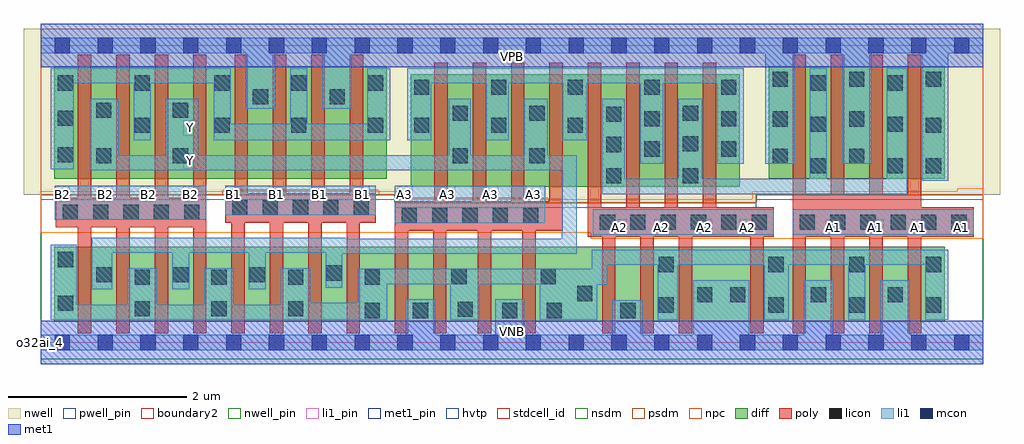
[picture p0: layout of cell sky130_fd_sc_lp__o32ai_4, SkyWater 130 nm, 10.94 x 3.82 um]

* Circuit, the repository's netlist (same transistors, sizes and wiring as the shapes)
* Copyright 2020 The SkyWater PDK Authors
*
* Licensed under the Apache License, Version 2.0 (the "License");
* you may not use this file except in compliance with the License.
* You may obtain a copy of the License at
*
*     https://www.apache.org/licenses/LICENSE-2.0
*
* Unless required by applicable law or agreed to in writing, software
* distributed under the License is distributed on an "AS IS" BASIS,
* WITHOUT WARRANTIES OR CONDITIONS OF ANY KIND, either express or implied.
* See the License for the specific language governing permissions and
* limitations under the License.
*
* SPDX-License-Identifier: Apache-2.0

.SUBCKT sky130_fd_sc_lp__o32ai_4 A1 A2 A3 B1 B2 VGND VNB VPB VPWR Y
*.PININFO A1:I A2:I A3:I B1:I B2:I VGND:I VNB:I VPB:I VPWR:I Y:O
MMPA0 VPWR A1 sndA1 VPB sky130_fd_pr__pfet_01v8_hvt m=4 w=1.26U l=0.15U mult=1
+ sa=0.265 sb=0.265 sd=0.28 area=0.063 perim=1.14
MMPA1 sndA1 A2 sndA2 VPB sky130_fd_pr__pfet_01v8_hvt m=4 w=1.26U l=0.15U mult=1
+ sa=0.265 sb=0.265 sd=0.28 area=0.063 perim=1.14
MMPA2 sndA2 A3 Y VPB sky130_fd_pr__pfet_01v8_hvt m=4 w=1.26U l=0.15U mult=1 sa=0.265
+ sb=0.265 sd=0.28 area=0.063 perim=1.14
MMPB0 VPWR B1 sndB1 VPB sky130_fd_pr__pfet_01v8_hvt m=4 w=1.26U l=0.15U mult=1
+ sa=0.265 sb=0.265 sd=0.28 area=0.063 perim=1.14
MMPB1 sndB1 B2 Y VPB sky130_fd_pr__pfet_01v8_hvt m=4 w=1.26U l=0.15U mult=1 sa=0.265
+ sb=0.265 sd=0.28 area=0.063 perim=1.14
MMNA0 pndA A1 VGND VNB sky130_fd_pr__nfet_01v8 m=4 w=0.84U l=0.15U mult=1 sa=0.265
+ sb=0.265 sd=0.28 area=0.063 perim=1.14
MMNA1 pndA A2 VGND VNB sky130_fd_pr__nfet_01v8 m=4 w=0.84U l=0.15U mult=1 sa=0.265
+ sb=0.265 sd=0.28 area=0.063 perim=1.14
MMNA2 pndA A3 VGND VNB sky130_fd_pr__nfet_01v8 m=4 w=0.84U l=0.15U mult=1 sa=0.265
+ sb=0.265 sd=0.28 area=0.063 perim=1.14
MMNB0 Y B1 pndA VNB sky130_fd_pr__nfet_01v8 m=4 w=0.84U l=0.15U mult=1 sa=0.265
+ sb=0.265 sd=0.28 area=0.063 perim=1.14
MMNB1 Y B2 pndA VNB sky130_fd_pr__nfet_01v8 m=4 w=0.84U l=0.15U mult=1 sa=0.265
+ sb=0.265 sd=0.28 area=0.063 perim=1.14
.ENDS sky130_fd_sc_lp__o32ai_4

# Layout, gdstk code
import gdstk
lib = gdstk.Library(unit=1e-6, precision=1e-09)
def R(c, l, rs):  # rectangles x0, y0, x1, y1
    for r in rs: c.add(gdstk.rectangle(r[:2], r[2:], *l))
def A(c, l, x, y, w, h, nx, ny, dx, dy):  # array of equal rectangles
    R(c, l, [(x+i*dx, y+j*dy, x+i*dx+w, y+j*dy+h) for i in range(nx) for j in range(ny)])
def P(c, l, *ps):  # polygons
    for p in ps: c.add(gdstk.Polygon(p, *l))
nwell_pin = (64, 16)
nwell = (64, 20)
diff = (65, 20)
poly = (66, 20)
licon = (66, 44)
li1_pin = (67, 16)
li1 = (67, 20)
mcon = (67, 44)
met1_pin = (68, 16)
met1 = (68, 20)
hvtp = (78, 44)
stdcell_id = (81, 4)
nsdm = (93, 44)
psdm = (94, 20)
npc = (95, 20)
pwell_pin = (122, 16)
boundary2 = (236, 0)

sky130_fd_sc_lp__o32ai_4 = lib.new_cell('sky130_fd_sc_lp__o32ai_4')
R(sky130_fd_sc_lp__o32ai_4, nwell_pin, [(0,3.085,10.56,3.33)])
P(sky130_fd_sc_lp__o32ai_4, nwell, [(10.75,3.52),(-0.19,3.52),(-0.19,1.655),(3.965,1.655),(3.965,1.565),(8.015,1.565),(8.015,1.655),(10.75,1.655)])
R(sky130_fd_sc_lp__o32ai_4, diff, [(0.15,0.235,10.13,1.075), (4.145,1.745,7.835,3.005), (0.15,1.835,3.875,3.095), (8.16,1.835,10.13,3.095)])
P(sky130_fd_sc_lp__o32ai_4, poly, [(1.855,3.225),(1.705,3.225),(1.705,1.625),(1.425,1.625),(1.425,3.225),(1.275,3.225),(1.275,1.625),(0.995,1.625),(0.995,3.225),(0.845,3.225),(0.845,1.625),(0.565,1.625),(0.565,3.225),(0.415,3.225),(0.415,1.625),(0.165,1.625),(0.165,1.295),(0.415,1.295),(0.415,0.105),(0.565,0.105),(0.565,1.295),(0.845,1.295),(0.845,0.105),(0.995,0.105),(0.995,1.295),(1.275,1.295),(1.275,0.105),(1.425,0.105),(1.425,1.295),(1.705,1.295),(1.705,0.105),(1.855,0.105)],
  [(3.755,1.675),(3.61,1.675),(3.61,3.225),(3.46,3.225),(3.46,1.675),(3.18,1.675),(3.18,3.225),(3.03,3.225),(3.03,1.675),(2.75,1.675),(2.75,3.225),(2.6,3.225),(2.6,1.675),(2.32,1.675),(2.32,3.225),(2.17,3.225),(2.17,1.675),(2.065,1.675),(2.065,1.345),(2.135,1.345),(2.135,0.105),(2.285,0.105),(2.285,1.345),(2.565,1.345),(2.565,0.105),(2.715,0.105),(2.715,1.345),(2.995,1.345),(2.995,0.105),(3.145,0.105),(3.145,1.345),(3.425,1.345),(3.425,0.105),(3.575,0.105),(3.575,1.345),(3.755,1.345)],
  [(5.545,1.255),(5.85,1.255),(5.85,3.135),(5.7,3.135),(5.7,1.585),(5.42,1.585),(5.42,3.135),(5.27,3.135),(5.27,1.585),(4.99,1.585),(4.99,3.135),(4.84,3.135),(4.84,1.585),(4.56,1.585),(4.56,3.135),(4.41,3.135),(4.41,1.585),(3.965,1.585),(3.965,0.105),(4.115,0.105),(4.115,1.255),(4.395,1.255),(4.395,0.105),(4.545,0.105),(4.545,1.255),(4.895,1.255),(4.895,0.105),(5.045,0.105),(5.045,1.255),(5.395,1.255),(5.395,0.105),(5.545,0.105)],
  [(8.215,1.515),(7.57,1.515),(7.57,3.135),(7.42,3.135),(7.42,1.515),(7.14,1.515),(7.14,3.135),(6.99,3.135),(6.99,1.515),(6.71,1.515),(6.71,3.135),(6.56,3.135),(6.56,1.515),(6.28,1.515),(6.28,3.135),(6.13,3.135),(6.13,1.185),(6.29,1.185),(6.29,0.105),(6.44,0.105),(6.44,1.185),(6.72,1.185),(6.72,0.105),(6.87,0.105),(6.87,1.185),(7.15,1.185),(7.15,0.105),(7.3,0.105),(7.3,1.185),(7.95,1.185),(7.95,0.105),(8.1,0.105),(8.1,1.185),(8.215,1.185)],
  [(10.455,1.515),(9.865,1.515),(9.865,3.225),(9.715,3.225),(9.715,1.665),(9.435,1.665),(9.435,3.225),(9.285,3.225),(9.285,1.665),(9.005,1.665),(9.005,3.225),(8.855,3.225),(8.855,1.665),(8.575,1.665),(8.575,3.225),(8.425,3.225),(8.425,0.105),(8.575,0.105),(8.575,1.185),(8.855,1.185),(8.855,0.105),(9.005,0.105),(9.005,1.185),(9.285,1.185),(9.285,0.105),(9.435,0.105),(9.435,1.185),(9.715,1.185),(9.715,0.105),(9.865,0.105),(9.865,1.185),(10.455,1.185)])
A(sky130_fd_sc_lp__o32ai_4, licon, 1.05, 0.295, 0.17, 0.17, 3, 1, 0.86, 0)
A(sky130_fd_sc_lp__o32ai_4, licon, 1.05, 0.645, 0.17, 0.17, 4, 1, 0.86, 0)
A(sky130_fd_sc_lp__o32ai_4, licon, 0.62, 0.675, 0.17, 0.17, 3, 1, 0.86, 0)
A(sky130_fd_sc_lp__o32ai_4, licon, 6.265, 1.265, 0.17, 0.17, 6, 1, 0.34, 0)
A(sky130_fd_sc_lp__o32ai_4, licon, 8.505, 1.265, 0.17, 0.17, 6, 1, 0.34, 0)
A(sky130_fd_sc_lp__o32ai_4, licon, 4.045, 1.335, 0.17, 0.17, 5, 1, 0.34, 0)
A(sky130_fd_sc_lp__o32ai_4, licon, 0.245, 1.375, 0.17, 0.17, 5, 1, 0.34, 0)
A(sky130_fd_sc_lp__o32ai_4, licon, 2.145, 1.425, 0.17, 0.17, 5, 1, 0.34, 0)
A(sky130_fd_sc_lp__o32ai_4, licon, 8.63, 1.895, 0.17, 0.17, 1, 3, 0, 0.465)
A(sky130_fd_sc_lp__o32ai_4, licon, 9.49, 1.895, 0.17, 0.17, 1, 3, 0, 0.465)
A(sky130_fd_sc_lp__o32ai_4, licon, 1.945, 2.35, 0.17, 0.17, 3, 2, 0.86, 0.475)
A(sky130_fd_sc_lp__o32ai_4, licon, 4.185, 2.35, 0.17, 0.17, 3, 1, 0.86, 0)
A(sky130_fd_sc_lp__o32ai_4, licon, 4.185, 2.775, 0.17, 0.17, 5, 1, 0.86, 0)
A(sky130_fd_sc_lp__o32ai_4, licon, 8.2, 2.865, 0.17, 0.17, 3, 1, 0.86, 0)
R(sky130_fd_sc_lp__o32ai_4, licon, [(3.63,0.275,3.8,0.445), (4.17,0.275,4.34,0.445), (5.17,0.275,5.34,0.445), (5.67,0.275,5.84,0.445), (6.495,0.275,6.665,0.445), (4.67,0.29,4.84,0.46), (6.925,0.335,7.095,0.505), (8.155,0.335,8.325,0.505), (9.06,0.335,9.23,0.505), (9.92,0.335,10.09,0.505), (0.19,0.355,0.36,0.525), (7.355,0.45,7.525,0.62), (7.725,0.45,7.895,0.62), (8.63,0.45,8.8,0.62), (9.49,0.45,9.66,0.62), (6.01,0.465,6.18,0.635), (4.6,0.655,4.77,0.825), (5.6,0.655,5.77,0.825), (3.2,0.695,3.37,0.865), (6.925,0.79,7.095,0.96), (8.155,0.79,8.325,0.96), (9.06,0.79,9.23,0.96), (9.92,0.79,10.09,0.96), (0.19,0.845,0.36,1.015), (6.335,1.785,6.505,1.955), (7.195,1.785,7.365,1.955), (9.92,1.895,10.09,2.065), (8.2,2.005,8.37,2.175), (9.06,2.005,9.23,2.175), (0.62,2.01,0.79,2.18), (1.48,2.01,1.65,2.18), (4.615,2.01,4.785,2.18), (5.475,2.01,5.645,2.18), (0.19,2.02,0.36,2.19), (6.765,2.085,6.935,2.255), (7.625,2.085,7.795,2.255), (6.335,2.135,6.505,2.305), (7.195,2.145,7.365,2.315), (1.05,2.35,1.22,2.52), (9.92,2.35,10.09,2.52), (8.2,2.42,8.37,2.59), (9.06,2.42,9.23,2.59), (6.765,2.425,6.935,2.595), (7.625,2.425,7.795,2.595), (0.19,2.43,0.36,2.6), (6.335,2.475,6.505,2.645), (4.615,2.485,4.785,2.655), (5.475,2.485,5.645,2.655), (7.195,2.485,7.365,2.655), (0.62,2.52,0.79,2.69), (1.48,2.52,1.65,2.69), (2.375,2.67,2.545,2.84), (3.235,2.67,3.405,2.84), (0.19,2.825,0.36,2.995), (1.05,2.825,1.22,2.995)])
A(sky130_fd_sc_lp__o32ai_4, li1_pin, 6.395, 1.21, 0.17, 0.17, 4, 1, 0.48, 0)
A(sky130_fd_sc_lp__o32ai_4, li1_pin, 8.795, 1.21, 0.17, 0.17, 4, 1, 0.48, 0)
A(sky130_fd_sc_lp__o32ai_4, li1_pin, 0.155, 1.58, 0.17, 0.17, 12, 1, 0.48, 0)
R(sky130_fd_sc_lp__o32ai_4, li1_pin, [(1.595,1.95,1.765,2.12), (1.595,2.32,1.765,2.49)])
R(sky130_fd_sc_lp__o32ai_4, li1, [(6.185,1.21,8.215,1.495), (8.425,1.21,10.455,1.495), (3.965,1.335,5.655,1.76), (0.155,1.375,1.855,1.76), (2.065,1.425,3.755,1.76)])
P(sky130_fd_sc_lp__o32ai_4, li1, [(3.155,2.62),(3.155,3.245),(2.625,3.245),(2.625,2.62),(2.295,2.62),(2.295,3.245),(0,3.245),(0,3.415),(10.56,3.415),(10.56,3.245),(10.17,3.245),(10.17,1.815),(9.88,1.815),(9.88,3.245),(9.31,3.245),(9.31,2.005),(8.98,2.005),(8.98,3.245),(8.45,3.245),(8.45,2.005),(8.12,2.005),(8.12,3.245),(3.485,3.245),(3.485,2.62)],
  [(5.09,0.085),(5.09,0.485),(5.42,0.485),(5.42,0.085),(6.405,0.085),(6.405,0.475),(6.745,0.475),(6.745,0.085),(7.31,0.085),(7.31,0.7),(7.94,0.7),(7.94,0.085),(8.55,0.085),(8.55,0.7),(8.88,0.7),(8.88,0.085),(9.41,0.085),(9.41,0.7),(9.74,0.7),(9.74,0.085),(10.56,0.085),(10.56,-0.085),(0,-0.085),(0,0.085),(4.09,0.085),(4.09,0.485),(4.42,0.485),(4.42,0.085)],
  [(8.81,1.835),(9.48,1.835),(9.48,3.075),(9.71,3.075),(9.71,1.665),(6.29,1.665),(6.29,2.735),(6.545,2.735),(6.545,1.835),(7.145,1.835),(7.145,2.735),(7.41,2.735),(7.41,1.835),(8.62,1.835),(8.62,3.075),(8.81,3.075)],
  [(7.58,2.905),(6.975,2.905),(6.975,2.005),(6.715,2.005),(6.715,2.905),(6.12,2.905),(6.12,2.27),(5.85,2.27),(5.85,2.905),(5.245,2.905),(5.245,2.27),(4.99,2.27),(4.99,2.905),(4.375,2.905),(4.375,2.27),(4.105,2.27),(4.105,3.075),(7.875,3.075),(7.875,2.005),(7.58,2.005)],
  [(5.68,2.1),(6.005,2.1),(6.005,0.995),(3.38,0.995),(3.38,0.615),(3.19,0.615),(3.19,1.005),(2.52,1.005),(2.52,0.595),(2.33,0.595),(2.33,1.005),(1.66,1.005),(1.66,0.595),(1.47,0.595),(1.47,1.005),(0.8,1.005),(0.8,0.595),(0.57,0.595),(0.57,1.175),(3.41,1.175),(3.41,1.165),(5.835,1.165),(5.835,1.93),(0.54,1.93),(0.54,2.735),(0.87,2.735),(0.87,2.1),(1.4,2.1),(1.4,2.735),(1.765,2.735),(1.765,2.1),(4.57,2.1),(4.57,2.735),(4.82,2.735),(4.82,2.1),(5.415,2.1),(5.415,2.735),(5.68,2.735)],
  [(2.985,2.45),(3.655,2.45),(3.655,3.075),(3.915,3.075),(3.915,2.27),(1.935,2.27),(1.935,2.905),(1.23,2.905),(1.23,2.27),(1.04,2.27),(1.04,2.905),(0.37,2.905),(0.37,1.94),(0.11,1.94),(0.11,3.075),(2.125,3.075),(2.125,2.45),(2.795,2.45),(2.795,3.075),(2.985,3.075)],
  [(10.17,1.04),(6.175,1.04),(6.175,0.825),(3.55,0.825),(3.55,0.445),(3.02,0.445),(3.02,0.835),(2.69,0.835),(2.69,0.425),(2.16,0.425),(2.16,0.835),(1.83,0.835),(1.83,0.425),(1.3,0.425),(1.3,0.835),(0.97,0.835),(0.97,0.425),(0.4,0.425),(0.4,1.095),(0.11,1.095),(0.11,0.255),(3.88,0.255),(3.88,0.655),(4.59,0.655),(4.59,0.255),(4.92,0.255),(4.92,0.655),(5.59,0.655),(5.59,0.255),(6.235,0.255),(6.235,0.645),(6.345,0.645),(6.345,0.87),(6.915,0.87),(6.915,0.255),(7.14,0.255),(7.14,0.87),(8.11,0.87),(8.11,0.255),(8.38,0.255),(8.38,0.87),(9.05,0.87),(9.05,0.255),(9.24,0.255),(9.24,0.87),(9.91,0.87),(9.91,0.255),(10.17,0.255)])
A(sky130_fd_sc_lp__o32ai_4, mcon, 0.155, -0.085, 0.17, 0.17, 22, 2, 0.48, 3.33)
R(sky130_fd_sc_lp__o32ai_4, met1_pin, [(0,0,10.56,0.245), (0,3.085,10.56,3.33)])
R(sky130_fd_sc_lp__o32ai_4, met1, [(0,-0.245,10.56,0.245), (0,3.085,10.56,3.575)])
P(sky130_fd_sc_lp__o32ai_4, hvtp, [(10.56,3.33),(0,3.33),(0,1.6),(3.965,1.6),(3.965,1.51),(8.015,1.51),(8.015,1.6),(10.56,1.6)])
R(sky130_fd_sc_lp__o32ai_4, stdcell_id, [(0,0,10.56,3.33)])
P(sky130_fd_sc_lp__o32ai_4, nsdm, [(10.56,1.655),(8.015,1.655),(8.015,1.565),(3.965,1.565),(3.965,1.655),(0,1.655),(0,-0.19),(10.56,-0.19)])
P(sky130_fd_sc_lp__o32ai_4, psdm, [(10.56,3.52),(0,3.52),(0,1.655),(2.035,1.655),(2.035,1.705),(3.785,1.705),(3.785,1.655),(3.965,1.655),(3.965,1.615),(5.685,1.615),(5.685,1.565),(8.015,1.565),(8.015,1.655),(10.56,1.655)])
P(sky130_fd_sc_lp__o32ai_4, npc, [(10.56,1.73),(10.27,1.73),(10.27,1.695),(7.975,1.695),(7.975,1.605),(4.005,1.605),(4.005,1.695),(0,1.695),(0,1.23),(6.165,1.23),(6.165,1.165),(10.56,1.165)])
R(sky130_fd_sc_lp__o32ai_4, pwell_pin, [(0,0,10.56,0.245)])
R(sky130_fd_sc_lp__o32ai_4, boundary2, [(0,0,10.56,3.33)])
sky130_fd_sc_lp__o32ai_4.add(gdstk.Label('VNB', (5.28,0.123), layer=64, texttype=59))
sky130_fd_sc_lp__o32ai_4.add(gdstk.Label('VPB', (5.28,3.208), layer=64, texttype=5))
sky130_fd_sc_lp__o32ai_4.add(gdstk.Label('o32ai_4', (0,0), layer=83, texttype=44))
sky130_fd_sc_lp__o32ai_4.add(gdstk.Label('VPWR', (5.28,3.208), layer=68, texttype=5))
sky130_fd_sc_lp__o32ai_4.add(gdstk.Label('VGND', (5.28,0.123), layer=68, texttype=5))
sky130_fd_sc_lp__o32ai_4.add(gdstk.Label('A1', (8.88,1.295), layer=67, texttype=5))
sky130_fd_sc_lp__o32ai_4.add(gdstk.Label('A1', (9.36,1.295), layer=67, texttype=5))
sky130_fd_sc_lp__o32ai_4.add(gdstk.Label('A1', (9.84,1.295), layer=67, texttype=5))
sky130_fd_sc_lp__o32ai_4.add(gdstk.Label('A1', (10.32,1.295), layer=67, texttype=5))
sky130_fd_sc_lp__o32ai_4.add(gdstk.Label('A2', (6.48,1.295), layer=67, texttype=5))
sky130_fd_sc_lp__o32ai_4.add(gdstk.Label('A2', (6.96,1.295), layer=67, texttype=5))
sky130_fd_sc_lp__o32ai_4.add(gdstk.Label('A2', (7.44,1.295), layer=67, texttype=5))
sky130_fd_sc_lp__o32ai_4.add(gdstk.Label('A2', (7.92,1.295), layer=67, texttype=5))
sky130_fd_sc_lp__o32ai_4.add(gdstk.Label('A3', (4.08,1.665), layer=67, texttype=5))
sky130_fd_sc_lp__o32ai_4.add(gdstk.Label('A3', (4.56,1.665), layer=67, texttype=5))
sky130_fd_sc_lp__o32ai_4.add(gdstk.Label('A3', (5.04,1.665), layer=67, texttype=5))
sky130_fd_sc_lp__o32ai_4.add(gdstk.Label('A3', (5.52,1.665), layer=67, texttype=5))
sky130_fd_sc_lp__o32ai_4.add(gdstk.Label('B1', (2.16,1.665), layer=67, texttype=5))
sky130_fd_sc_lp__o32ai_4.add(gdstk.Label('B1', (2.64,1.665), layer=67, texttype=5))
sky130_fd_sc_lp__o32ai_4.add(gdstk.Label('B1', (3.12,1.665), layer=67, texttype=5))
sky130_fd_sc_lp__o32ai_4.add(gdstk.Label('B1', (3.6,1.665), layer=67, texttype=5))
sky130_fd_sc_lp__o32ai_4.add(gdstk.Label('B2', (0.24,1.665), layer=67, texttype=5))
sky130_fd_sc_lp__o32ai_4.add(gdstk.Label('B2', (0.72,1.665), layer=67, texttype=5))
sky130_fd_sc_lp__o32ai_4.add(gdstk.Label('B2', (1.2,1.665), layer=67, texttype=5))
sky130_fd_sc_lp__o32ai_4.add(gdstk.Label('B2', (1.68,1.665), layer=67, texttype=5))
sky130_fd_sc_lp__o32ai_4.add(gdstk.Label('Y', (1.68,2.035), layer=67, texttype=5))
sky130_fd_sc_lp__o32ai_4.add(gdstk.Label('Y', (1.68,2.405), layer=67, texttype=5))

lib.write_gds('sky130_fd_sc_lp__o32ai_4.gds')
